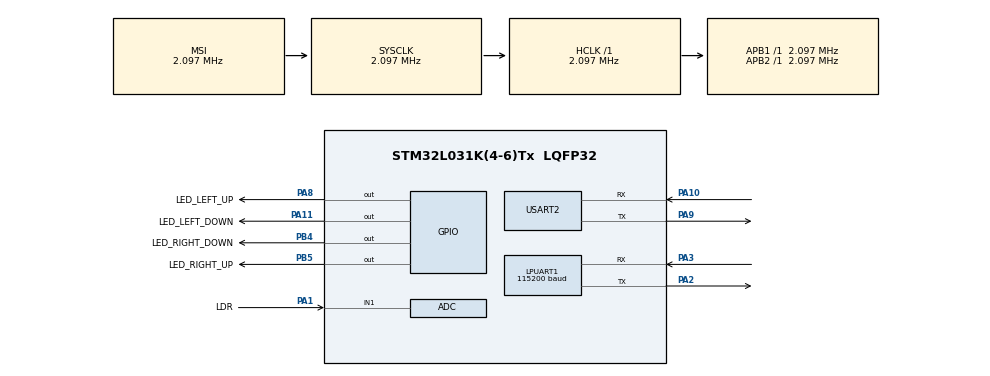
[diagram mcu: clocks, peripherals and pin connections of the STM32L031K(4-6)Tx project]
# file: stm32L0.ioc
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ADC.ClockPrescaler=ADC_CLOCK_ASYNC_DIV64
ADC.ContinuousConvMode=ENABLE
ADC.DMAContinuousRequests=ENABLE
ADC.DataAlign=ADC_DATAALIGN_RIGHT
ADC.DiscontinuousConvMode=DISABLE
ADC.EOCSelection=ADC_EOC_SINGLE_CONV
ADC.EnableAnalogWatchDog=false
ADC.ExternalTrigConv=ADC_SOFTWARE_START
ADC.ExternalTrigConvEdge=ADC_EXTERNALTRIGCONVEDGE_NONE
ADC.LowPowerAutoPowerOff=DISABLE
ADC.LowPowerAutoWait=DISABLE
ADC.LowPowerFrequencyMode=ENABLE
ADC.Overrun=ADC_OVR_DATA_PRESERVED
ADC.OversamplingMode=DISABLE
ADC.Resolution=ADC_RESOLUTION_12B
ADC.SamplingTime=ADC_SAMPLETIME_12CYCLES_5
ADC.ScanConvMode=ADC_SCAN_DIRECTION_FORWARD
Dma.ADC.4.Direction=DMA_PERIPH_TO_MEMORY
Dma.ADC.4.Instance=DMA1_Channel1
Dma.ADC.4.MemDataAlignment=DMA_MDATAALIGN_WORD
Dma.ADC.4.MemInc=DMA_MINC_ENABLE
Dma.ADC.4.Mode=DMA_CIRCULAR
Dma.ADC.4.PeriphDataAlignment=DMA_PDATAALIGN_WORD
Dma.ADC.4.PeriphInc=DMA_PINC_DISABLE
Dma.ADC.4.Priority=DMA_PRIORITY_LOW
Dma.LPUART1_RX.2.Direction=DMA_PERIPH_TO_MEMORY
Dma.LPUART1_RX.2.Instance=DMA1_Channel3
Dma.LPUART1_RX.2.MemDataAlignment=DMA_MDATAALIGN_BYTE
Dma.LPUART1_RX.2.MemInc=DMA_MINC_ENABLE
Dma.LPUART1_RX.2.Mode=DMA_NORMAL
Dma.LPUART1_RX.2.PeriphDataAlignment=DMA_PDATAALIGN_BYTE
Dma.LPUART1_RX.2.PeriphInc=DMA_PINC_DISABLE
Dma.LPUART1_RX.2.Priority=DMA_PRIORITY_LOW
Dma.LPUART1_TX.3.Direction=DMA_MEMORY_TO_PERIPH
Dma.LPUART1_TX.3.Instance=DMA1_Channel7
Dma.LPUART1_TX.3.MemDataAlignment=DMA_MDATAALIGN_BYTE
Dma.LPUART1_TX.3.MemInc=DMA_MINC_ENABLE
Dma.LPUART1_TX.3.Mode=DMA_NORMAL
Dma.LPUART1_TX.3.PeriphDataAlignment=DMA_PDATAALIGN_BYTE
Dma.LPUART1_TX.3.PeriphInc=DMA_PINC_DISABLE
Dma.LPUART1_TX.3.Priority=DMA_PRIORITY_LOW
Dma.Request0=USART2_RX
Dma.Request1=USART2_TX
Dma.Request2=LPUART1_RX
Dma.Request3=LPUART1_TX
Dma.Request4=ADC
Dma.USART2_RX.0.Direction=DMA_PERIPH_TO_MEMORY
Dma.USART2_RX.0.Instance=DMA1_Channel5
Dma.USART2_RX.0.MemDataAlignment=DMA_MDATAALIGN_BYTE
Dma.USART2_RX.0.MemInc=DMA_MINC_ENABLE
Dma.USART2_RX.0.Mode=DMA_NORMAL
Dma.USART2_RX.0.PeriphDataAlignment=DMA_PDATAALIGN_BYTE
Dma.USART2_RX.0.PeriphInc=DMA_PINC_DISABLE
Dma.USART2_RX.0.Priority=DMA_PRIORITY_LOW
Dma.USART2_TX.1.Direction=DMA_MEMORY_TO_PERIPH
Dma.USART2_TX.1.Instance=DMA1_Channel4
Dma.USART2_TX.1.MemDataAlignment=DMA_MDATAALIGN_BYTE
Dma.USART2_TX.1.MemInc=DMA_MINC_ENABLE
Dma.USART2_TX.1.Mode=DMA_NORMAL
Dma.USART2_TX.1.PeriphDataAlignment=DMA_PDATAALIGN_BYTE
Dma.USART2_TX.1.PeriphInc=DMA_PINC_DISABLE
Dma.USART2_TX.1.Priority=DMA_PRIORITY_LOW
LPUART1.BaudRate=115200
LPUART1.WordLength=UART_WORDLENGTH_8B
Mcu.Family=STM32L0
Mcu.Name=STM32L031K(4-6)Tx
Mcu.Package=LQFP32
NVIC.AES_RNG_LPUART1_IRQn=true\:0\:0\:false\:false\:true\:true
NVIC.DMA1_Channel1_IRQn=true\:0\:0\:false\:false\:true\:false
NVIC.DMA1_Channel2_3_IRQn=true\:0\:0\:false\:false\:true\:false
NVIC.DMA1_Channel4_5_6_7_IRQn=true\:0\:0\:false\:false\:true\:false
NVIC.TIM2_IRQn=true\:0\:0\:false\:false\:true\:true
NVIC.USART2_IRQn=true\:0\:0\:false\:false\:true\:true
PA1.GPIO_Label=LDR
PA1.Mode=IN1
PA1.Signal=ADC_IN1
PA10.Mode=Asynchronous
PA10.Signal=USART2_RX
PA11.GPIO_Label=LED_LEFT_DOWN
PA11.Signal=GPIO_Output
PA2.Mode=Asynchronous
PA2.Signal=LPUART1_TX
PA3.Mode=Asynchronous
PA3.Signal=LPUART1_RX
PA8.GPIO_Label=LED_LEFT_UP
PA8.Signal=GPIO_Output
PA9.Mode=Asynchronous
PA9.Signal=USART2_TX
PB4.GPIO_Label=LED_RIGHT_DOWN
PB4.Signal=GPIO_Output
PB5.GPIO_Label=LED_RIGHT_UP
PB5.Signal=GPIO_Output
ProjectManager.HeapSize=0x200
ProjectManager.StackSize=0x400
ProjectManager.TargetToolchain=SW4STM32
RCC.AHBFreq_Value=2097000
RCC.APB1Freq_Value=2097000
RCC.APB1TimFreq_Value=2097000
RCC.APB2Freq_Value=2097000
RCC.APB2TimFreq_Value=2097000
RCC.HSE_VALUE=8000000
RCC.HSI16_VALUE=16000000
RCC.HSI_VALUE=16000000
RCC.LSE_VALUE=32768
RCC.MSI_VALUE=2097000
RCC.SYSCLKFreq_VALUE=2097000
RCC.VCOOutputFreq_Value=48000000
TIM2.ClockDivision=TIM_CLOCKDIVISION_DIV4
TIM2.Period=40
TIM2.Prescaler=50000
USART2.VirtualMode-Asynchronous=VM_ASYNC
USART2.WordLength=WORDLENGTH_8B
VP_TIM2_VS_ClockSourceINT.Mode=Internal
board=stm32L0

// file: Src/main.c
/**
  ******************************************************************************
  * @file           : main.c
  * @brief          : Main program body
  ******************************************************************************
  ** This notice applies to any and all portions of this file
  * that are not between comment pairs USER CODE BEGIN and
  * USER CODE END. Other portions of this file, whether
  * inserted by the user or by software development tools
  * are owned by their respective copyright owners.
  *
  * COPYRIGHT(c) 2018 STMicroelectronics
  *
  * Redistribution and use in source and binary forms, with or without modification,
  * are permitted provided that the following conditions are met:
  *   1. Redistributions of source code must retain the above copyright notice,
  *      this list of conditions and the following disclaimer.
  *   2. Redistributions in binary form must reproduce the above copyright notice,
  *      this list of conditions and the following disclaimer in the documentation
  *      and/or other materials provided with the distribution.
  *   3. Neither the name of STMicroelectronics nor the names of its contributors
  *      may be used to endorse or promote products derived from this software
  *      without specific prior written permission.
  *
  * THIS SOFTWARE IS PROVIDED BY THE COPYRIGHT HOLDERS AND CONTRIBUTORS "AS IS"
  * AND ANY EXPRESS OR IMPLIED WARRANTIES, INCLUDING, BUT NOT LIMITED TO, THE
  * IMPLIED WARRANTIES OF MERCHANTABILITY AND FITNESS FOR A PARTICULAR PURPOSE ARE
  * DISCLAIMED. IN NO EVENT SHALL THE COPYRIGHT HOLDER OR CONTRIBUTORS BE LIABLE
  * FOR ANY DIRECT, INDIRECT, INCIDENTAL, SPECIAL, EXEMPLARY, OR CONSEQUENTIAL
  * DAMAGES (INCLUDING, BUT NOT LIMITED TO, PROCUREMENT OF SUBSTITUTE GOODS OR
  * SERVICES; LOSS OF USE, DATA, OR PROFITS; OR BUSINESS INTERRUPTION) HOWEVER
  * CAUSED AND ON ANY THEORY OF LIABILITY, WHETHER IN CONTRACT, STRICT LIABILITY,
  * OR TORT (INCLUDING NEGLIGENCE OR OTHERWISE) ARISING IN ANY WAY OUT OF THE USE
  * OF THIS SOFTWARE, EVEN IF ADVISED OF THE POSSIBILITY OF SUCH DAMAGE.
  *
  ******************************************************************************
  */
#include "main.h"
#include "stm32l0xx_hal.h"

ADC_HandleTypeDef hadc;
DMA_HandleTypeDef hdma_adc;

UART_HandleTypeDef hlpuart1;
UART_HandleTypeDef huart2;
DMA_HandleTypeDef hdma_lpuart1_rx;
DMA_HandleTypeDef hdma_lpuart1_tx;
DMA_HandleTypeDef hdma_usart2_rx;
DMA_HandleTypeDef hdma_usart2_tx;

TIM_HandleTypeDef htim2;

/* USER CODE BEGIN PV */
/* Private variables ---------------------------------------------------------*/
#define CMD_LENGTH 19
uint16_t* ldrValues;
volatile uint16_t prevLDRValue=0;
volatile uint8_t state=0;
volatile uint32_t timeHigh=0;
volatile uint32_t timeLow=0;
volatile uint32_t currentTime=0;
volatile uint32_t timeLastChange=0;
volatile uint32_t measurements=0;
volatile uint8_t sendData=0;
volatile uint8_t settingsChanged=0;
/* USER CODE END PV */

void SystemClock_Config(void);
static void MX_GPIO_Init(void);
static void MX_DMA_Init(void);
static void MX_USART2_UART_Init(void);
static void MX_LPUART1_UART_Init(void);
static void MX_ADC_Init(void);
static void MX_TIM2_Init(void);

/* USER CODE BEGIN PFP */
/* Private function prototypes -----------------------------------------------*/
void DASH7Message(uint8_t data[], int lengthDash7);

/* USER CODE END PFP */

/* USER CODE BEGIN 0 */
void DASH7Message(uint8_t data[], int lengthDash7) {
	int total_length = CMD_LENGTH - 7 + lengthDash7;
	uint8_t CMD[] = { 0x41, 0x54, 0x24, 0x44, 0xc0, 0x00, total_length, 0xb4,
			0x13, 0x32, 0xd7, 0x00, 0x00, 0x10, 0x01, 0x20, 0x40, 0x00,
			lengthDash7, };

	/* Create the ALP array with the right length */
	uint8_t ALP[total_length + 7];

	for (int i = 0; i <= CMD_LENGTH; i++) {
		ALP[i] = CMD[i];
	}

	/* Put the data in de ALP command */
	for (int k = 0; k <= lengthDash7; k++) {
		/* ALP length is 16 and + 1 for lengthDash7 field */
		ALP[CMD_LENGTH + k] = data[k];
	}

	HAL_UART_Transmit_DMA(&huart2, ALP, sizeof(ALP));

}

/* USER CODE END 0 */

int main(void)
{
  /* USER CODE BEGIN 1 */
	uint16_t ledHigh=9;
	uint16_t ledLow=9;
	uint8_t ledState=0;
  /* USER CODE END 1 */

  /* MCU Configuration----------------------------------------------------------*/

  /* Reset of all peripherals, Initializes the Flash interface and the Systick. */
  HAL_Init();

  /* Configure the system clock */
  SystemClock_Config();

  /* USER CODE BEGIN SysInit */
  uint16_t rawValues[1];
    ldrValues=&rawValues;
    uint8_t bleData[3];
  /* USER CODE END SysInit */

  /* Initialize all configured peripherals */
  MX_GPIO_Init();
  MX_DMA_Init();
  MX_USART2_UART_Init();
  MX_LPUART1_UART_Init();
  MX_ADC_Init();
  MX_TIM2_Init();
  /* USER CODE BEGIN 2 */

  HAL_Delay(5000);
  HAL_TIM_Base_Init(&htim2);
  HAL_TIM_Base_Start_IT(&htim2);
  HAL_ADC_Start_DMA(&hadc, (uint32_t*)rawValues,sizeof(rawValues));
  __HAL_UART_FLUSH_DRREGISTER(&hlpuart1);
   HAL_UART_Receive_DMA(&hlpuart1, &bleData, 3);
  /* USER CODE END 2 */

  /* Infinite loop */
  while (1)
  {

  /* USER CODE BEGIN 3 */
	  if(ledState==1)
	  {
		  HAL_GPIO_WritePin(GPIOA, LED_LEFT_UP_Pin|LED_LEFT_DOWN_Pin, GPIO_PIN_SET);
		  HAL_GPIO_WritePin(GPIOB, LED_RIGHT_DOWN_Pin|LED_RIGHT_UP_Pin, GPIO_PIN_SET);
		  HAL_Delay(ledHigh*1000);
		  HAL_GPIO_WritePin(GPIOA, LED_LEFT_UP_Pin|LED_LEFT_DOWN_Pin, GPIO_PIN_RESET);
		  HAL_GPIO_WritePin(GPIOB, LED_RIGHT_DOWN_Pin|LED_RIGHT_UP_Pin, GPIO_PIN_RESET);
		  HAL_Delay(ledLow*1000);
	  }

	  if(settingsChanged==1)
	  {
		  char str2[2];
		  strncpy ( str2, bleData + 1, 2 );
		  if(bleData[0]=='S')
			  if(bleData[1]=='1')
				  ledState=1;
			  else
				  ledState=0;
		  else if(bleData[0]=='G')
			  ledHigh=atoi(str2);
		  else if(bleData[0]=='R')
			ledLow=atoi(str2);
		  settingsChanged=0;
		  __HAL_UART_FLUSH_DRREGISTER(&hlpuart1);
		  HAL_UART_Receive_DMA(&hlpuart1, &bleData, 3);
	  }
  }
  /* USER CODE END 3 */

}

void SystemClock_Config(void)
{

  RCC_OscInitTypeDef RCC_OscInitStruct;
  RCC_ClkInitTypeDef RCC_ClkInitStruct;
  RCC_PeriphCLKInitTypeDef PeriphClkInit;

    /**Configure the main internal regulator output voltage
    */
  __HAL_PWR_VOLTAGESCALING_CONFIG(PWR_REGULATOR_VOLTAGE_SCALE1);

    /**Initializes the CPU, AHB and APB busses clocks
    */
  RCC_OscInitStruct.OscillatorType = RCC_OSCILLATORTYPE_HSI|RCC_OSCILLATORTYPE_MSI;
  RCC_OscInitStruct.HSIState = RCC_HSI_ON;
  RCC_OscInitStruct.HSICalibrationValue = 16;
  RCC_OscInitStruct.MSIState = RCC_MSI_ON;
  RCC_OscInitStruct.MSICalibrationValue = 0;
  RCC_OscInitStruct.MSIClockRange = RCC_MSIRANGE_5;
  RCC_OscInitStruct.PLL.PLLState = RCC_PLL_NONE;
  if (HAL_RCC_OscConfig(&RCC_OscInitStruct) != HAL_OK)
  {
    _Error_Handler(__FILE__, __LINE__);
  }

    /**Initializes the CPU, AHB and APB busses clocks
    */
  RCC_ClkInitStruct.ClockType = RCC_CLOCKTYPE_HCLK|RCC_CLOCKTYPE_SYSCLK
                              |RCC_CLOCKTYPE_PCLK1|RCC_CLOCKTYPE_PCLK2;
  RCC_ClkInitStruct.SYSCLKSource = RCC_SYSCLKSOURCE_MSI;
  RCC_ClkInitStruct.AHBCLKDivider = RCC_SYSCLK_DIV1;
  RCC_ClkInitStruct.APB1CLKDivider = RCC_HCLK_DIV1;
  RCC_ClkInitStruct.APB2CLKDivider = RCC_HCLK_DIV1;

  if (HAL_RCC_ClockConfig(&RCC_ClkInitStruct, FLASH_LATENCY_0) != HAL_OK)
  {
    _Error_Handler(__FILE__, __LINE__);
  }

  PeriphClkInit.PeriphClockSelection = RCC_PERIPHCLK_USART2|RCC_PERIPHCLK_LPUART1;
  PeriphClkInit.Usart2ClockSelection = RCC_USART2CLKSOURCE_PCLK1;
  PeriphClkInit.Lpuart1ClockSelection = RCC_LPUART1CLKSOURCE_PCLK1;
  if (HAL_RCCEx_PeriphCLKConfig(&PeriphClkInit) != HAL_OK)
  {
    _Error_Handler(__FILE__, __LINE__);
  }

    /**Configure the Systick interrupt time
    */
  HAL_SYSTICK_Config(HAL_RCC_GetHCLKFreq()/1000);

    /**Configure the Systick
    */
  HAL_SYSTICK_CLKSourceConfig(SYSTICK_CLKSOURCE_HCLK);

  /* SysTick_IRQn interrupt configuration */
  HAL_NVIC_SetPriority(SysTick_IRQn, 0, 0);
}

/* ADC init function */
static void MX_ADC_Init(void)
{

  ADC_ChannelConfTypeDef sConfig;

    /**Configure the global features of the ADC (Clock, Resolution, Data Alignment and number of conversion)
    */
  hadc.Instance = ADC1;
  hadc.Init.OversamplingMode = DISABLE;
  hadc.Init.ClockPrescaler = ADC_CLOCK_SYNC_PCLK_DIV2;
  hadc.Init.Resolution = ADC_RESOLUTION_12B;
  hadc.Init.SamplingTime = ADC_SAMPLETIME_12CYCLES_5;
  hadc.Init.ScanConvMode = ADC_SCAN_DIRECTION_FORWARD;
  hadc.Init.DataAlign = ADC_DATAALIGN_RIGHT;
  hadc.Init.ContinuousConvMode = DISABLE;
  hadc.Init.DiscontinuousConvMode = DISABLE;
  hadc.Init.ExternalTrigConvEdge = ADC_EXTERNALTRIGCONVEDGE_NONE;
  hadc.Init.ExternalTrigConv = ADC_SOFTWARE_START;
  hadc.Init.DMAContinuousRequests = ENABLE;
  hadc.Init.EOCSelection = ADC_EOC_SINGLE_CONV;
  hadc.Init.Overrun = ADC_OVR_DATA_PRESERVED;
  hadc.Init.LowPowerAutoWait = DISABLE;
  hadc.Init.LowPowerFrequencyMode = DISABLE;
  hadc.Init.LowPowerAutoPowerOff = DISABLE;
  if (HAL_ADC_Init(&hadc) != HAL_OK)
  {
    _Error_Handler(__FILE__, __LINE__);
  }

    /**Configure for the selected ADC regular channel to be converted.
    */
  sConfig.Channel = ADC_CHANNEL_1;
  sConfig.Rank = ADC_RANK_CHANNEL_NUMBER;
  if (HAL_ADC_ConfigChannel(&hadc, &sConfig) != HAL_OK)
  {
    _Error_Handler(__FILE__, __LINE__);
  }

}

/* LPUART1 init function */
static void MX_LPUART1_UART_Init(void)
{

  hlpuart1.Instance = LPUART1;
  hlpuart1.Init.BaudRate = 115200;
  hlpuart1.Init.WordLength = UART_WORDLENGTH_8B;
  hlpuart1.Init.StopBits = UART_STOPBITS_1;
  hlpuart1.Init.Parity = UART_PARITY_NONE;
  hlpuart1.Init.Mode = UART_MODE_TX_RX;
  hlpuart1.Init.HwFlowCtl = UART_HWCONTROL_NONE;
  hlpuart1.Init.OneBitSampling = UART_ONE_BIT_SAMPLE_DISABLE;
  hlpuart1.AdvancedInit.AdvFeatureInit = UART_ADVFEATURE_NO_INIT;
  if (HAL_UART_Init(&hlpuart1) != HAL_OK)
  {
    _Error_Handler(__FILE__, __LINE__);
  }

}

/* USART2 init function */
static void MX_USART2_UART_Init(void)
{

  huart2.Instance = USART2;
  huart2.Init.BaudRate = 115200;
  huart2.Init.WordLength = UART_WORDLENGTH_8B;
  huart2.Init.StopBits = UART_STOPBITS_1;
  huart2.Init.Parity = UART_PARITY_NONE;
  huart2.Init.Mode = UART_MODE_TX_RX;
  huart2.Init.HwFlowCtl = UART_HWCONTROL_NONE;
  huart2.Init.OverSampling = UART_OVERSAMPLING_16;
  huart2.Init.OneBitSampling = UART_ONE_BIT_SAMPLE_DISABLE;
  huart2.AdvancedInit.AdvFeatureInit = UART_ADVFEATURE_NO_INIT;
  if (HAL_UART_Init(&huart2) != HAL_OK)
  {
    _Error_Handler(__FILE__, __LINE__);
  }

}

/* TIM2 init function */
static void MX_TIM2_Init(void)
{

  TIM_ClockConfigTypeDef sClockSourceConfig;
  TIM_MasterConfigTypeDef sMasterConfig;

  htim2.Instance = TIM2;
  htim2.Init.Prescaler = 50000;
  htim2.Init.CounterMode = TIM_COUNTERMODE_UP;
  htim2.Init.Period = 9;
  htim2.Init.ClockDivision = TIM_CLOCKDIVISION_DIV4;
  if (HAL_TIM_Base_Init(&htim2) != HAL_OK)
  {
    _Error_Handler(__FILE__, __LINE__);
  }

  sClockSourceConfig.ClockSource = TIM_CLOCKSOURCE_INTERNAL;
  if (HAL_TIM_ConfigClockSource(&htim2, &sClockSourceConfig) != HAL_OK)
  {
    _Error_Handler(__FILE__, __LINE__);
  }

  sMasterConfig.MasterOutputTrigger = TIM_TRGO_RESET;
  sMasterConfig.MasterSlaveMode = TIM_MASTERSLAVEMODE_DISABLE;
  if (HAL_TIMEx_MasterConfigSynchronization(&htim2, &sMasterConfig) != HAL_OK)
  {
    _Error_Handler(__FILE__, __LINE__);
  }

}

static void MX_DMA_Init(void)
{
  /* DMA controller clock enable */
  __HAL_RCC_DMA1_CLK_ENABLE();

  /* DMA interrupt init */
  /* DMA1_Channel1_IRQn interrupt configuration */
  HAL_NVIC_SetPriority(DMA1_Channel1_IRQn, 0, 0);
  HAL_NVIC_EnableIRQ(DMA1_Channel1_IRQn);
  /* DMA1_Channel2_3_IRQn interrupt configuration */
  HAL_NVIC_SetPriority(DMA1_Channel2_3_IRQn, 0, 0);
  HAL_NVIC_EnableIRQ(DMA1_Channel2_3_IRQn);
  /* DMA1_Channel4_5_6_7_IRQn interrupt configuration */
  HAL_NVIC_SetPriority(DMA1_Channel4_5_6_7_IRQn, 0, 0);
  HAL_NVIC_EnableIRQ(DMA1_Channel4_5_6_7_IRQn);

}

/** Configure pins as
        * Analog
        * Input
        * Output
        * EVENT_OUT
        * EXTI
*/
static void MX_GPIO_Init(void)
{

  GPIO_InitTypeDef GPIO_InitStruct;

  /* GPIO Ports Clock Enable */
  __HAL_RCC_GPIOA_CLK_ENABLE();
  __HAL_RCC_GPIOB_CLK_ENABLE();

  /*Configure GPIO pin Output Level */
  HAL_GPIO_WritePin(GPIOA, LED_LEFT_UP_Pin|LED_LEFT_DOWN_Pin, GPIO_PIN_RESET);

  /*Configure GPIO pin Output Level */
  HAL_GPIO_WritePin(GPIOB, LED_RIGHT_DOWN_Pin|LED_RIGHT_UP_Pin, GPIO_PIN_RESET);

  /*Configure GPIO pins : LED_LEFT_UP_Pin LED_LEFT_DOWN_Pin */
  GPIO_InitStruct.Pin = LED_LEFT_UP_Pin|LED_LEFT_DOWN_Pin;
  GPIO_InitStruct.Mode = GPIO_MODE_OUTPUT_PP;
  GPIO_InitStruct.Pull = GPIO_NOPULL;
  GPIO_InitStruct.Speed = GPIO_SPEED_FREQ_LOW;
  HAL_GPIO_Init(GPIOA, &GPIO_InitStruct);

  /*Configure GPIO pins : LED_RIGHT_DOWN_Pin LED_RIGHT_UP_Pin */
  GPIO_InitStruct.Pin = LED_RIGHT_DOWN_Pin|LED_RIGHT_UP_Pin;
  GPIO_InitStruct.Mode = GPIO_MODE_OUTPUT_PP;
  GPIO_InitStruct.Pull = GPIO_NOPULL;
  GPIO_InitStruct.Speed = GPIO_SPEED_FREQ_LOW;
  HAL_GPIO_Init(GPIOB, &GPIO_InitStruct);

}

/* USER CODE BEGIN 4 */
void HAL_ADC_ConvCpltCallback(ADC_HandleTypeDef* hadc)
{

	uint16_t temp=*ldrValues;

	if((abs(prevLDRValue-temp)>500))
	{
		state=(prevLDRValue>temp); //high==off, low==on
		prevLDRValue=temp;
		if(state==1)
		{
			timeLow=(HAL_GetTick()-timeLastChange)/100;
			timeLastChange=HAL_GetTick();
			currentTime=0;
		}
		else if(state==0)
		{
			timeHigh=(HAL_GetTick()-timeLastChange)/100;
			timeLastChange=HAL_GetTick();
			currentTime=0;
		}
	}
	measurements++;
	if(measurements>=5)
	{
		currentTime=(HAL_GetTick()-timeLastChange)/100;
		uint8_t dataToSend[7];
		dataToSend[0] = (uint8_t)(state & 0xFFu);
		dataToSend[1] = (uint8_t)((currentTime >> 8) & 0xFFu);
		dataToSend[2] = (uint8_t)(currentTime & 0xFFu);
		dataToSend[3] = (uint8_t)((timeLow >> 8) & 0xFFu);
		dataToSend[4] = (uint8_t)(timeLow & 0xFFu);
		dataToSend[5] = (uint8_t)((timeHigh >> 8) & 0xFFu);
		dataToSend[6] = (uint8_t)(timeHigh & 0xFFu);
		DASH7Message(dataToSend, 8);
		measurements=0;
	}

}
void HAL_TIM_PeriodElapsedCallback(TIM_HandleTypeDef *htim)
{
	// This callback is automatically called by the HAL on the UEV event 36
	if(htim->Instance == TIM2)
	{
		HAL_ADC_Start_DMA(&hadc, (uint32_t*)ldrValues,1);

	}

}
void HAL_UART_RxCpltCallback(UART_HandleTypeDef *huart)
{

	if(huart==&hlpuart1)
	{
		settingsChanged=1;
	}
}

/* USER CODE END 4 */

void _Error_Handler(char *file, int line)
{
  while(1)
  {
  }
}

/************************ (C) COPYRIGHT STMicroelectronics *****END OF FILE****/
